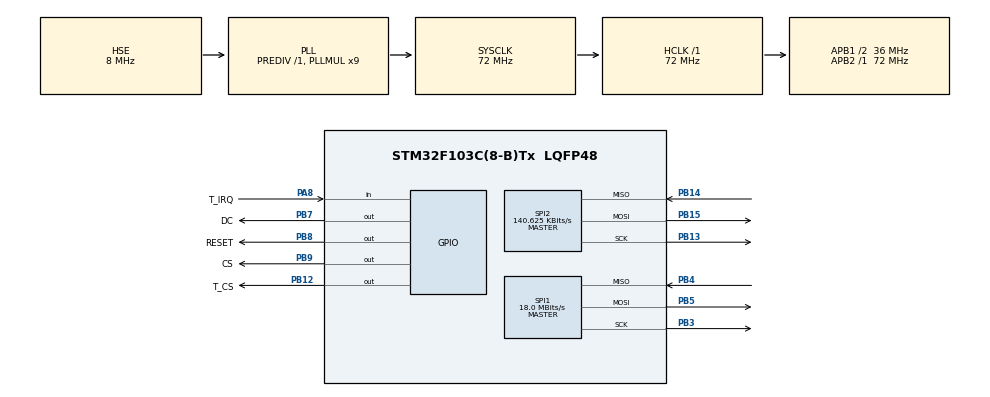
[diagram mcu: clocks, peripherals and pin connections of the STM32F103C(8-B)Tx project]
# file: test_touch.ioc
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Dma.Request0=SPI1_TX
Dma.SPI1_TX.0.Direction=DMA_MEMORY_TO_PERIPH
Dma.SPI1_TX.0.Instance=DMA1_Channel3
Dma.SPI1_TX.0.MemDataAlignment=DMA_MDATAALIGN_BYTE
Dma.SPI1_TX.0.MemInc=DMA_MINC_ENABLE
Dma.SPI1_TX.0.Mode=DMA_NORMAL
Dma.SPI1_TX.0.PeriphDataAlignment=DMA_PDATAALIGN_BYTE
Dma.SPI1_TX.0.PeriphInc=DMA_PINC_DISABLE
Dma.SPI1_TX.0.Priority=DMA_PRIORITY_VERY_HIGH
Mcu.Family=STM32F1
Mcu.Name=STM32F103C(8-B)Tx
Mcu.Package=LQFP48
NVIC.DMA1_Channel3_IRQn=true\:0\:0\:false\:false\:true\:false\:true\:true
NVIC.PriorityGroup=NVIC_PRIORITYGROUP_4
NVIC.SPI1_IRQn=true\:0\:0\:false\:false\:true\:true\:true\:true
PA13.Mode=Serial_Wire
PA13.Signal=SYS_JTMS-SWDIO
PA14.Mode=Serial_Wire
PA14.Signal=SYS_JTCK-SWCLK
PA8.GPIO_Label=T_IRQ
PA8.Signal=GPIO_Input
PB12.GPIO_Label=T_CS
PB12.GPIO_Speed=GPIO_SPEED_FREQ_MEDIUM
PB12.PinState=GPIO_PIN_SET
PB12.Signal=GPIO_Output
PB13.Mode=Full_Duplex_Master
PB13.Signal=SPI2_SCK
PB14.Mode=Full_Duplex_Master
PB14.Signal=SPI2_MISO
PB15.Mode=Full_Duplex_Master
PB15.Signal=SPI2_MOSI
PB3.Mode=Full_Duplex_Master
PB3.Signal=SPI1_SCK
PB4.Mode=Full_Duplex_Master
PB4.Signal=SPI1_MISO
PB5.Mode=Full_Duplex_Master
PB5.Signal=SPI1_MOSI
PB7.GPIO_Label=DC
PB7.GPIO_Speed=GPIO_SPEED_FREQ_MEDIUM
PB7.Signal=GPIO_Output
PB8.GPIO_Label=RESET
PB8.GPIO_Speed=GPIO_SPEED_FREQ_MEDIUM
PB8.Signal=GPIO_Output
PB9.GPIO_Label=CS
PB9.GPIO_Speed=GPIO_SPEED_FREQ_MEDIUM
PB9.Signal=GPIO_Output
PD0-OSC_IN.Mode=HSE-External-Oscillator
PD0-OSC_IN.Signal=RCC_OSC_IN
PD1-OSC_OUT.Mode=HSE-External-Oscillator
PD1-OSC_OUT.Signal=RCC_OSC_OUT
ProjectManager.HeapSize=0x200
ProjectManager.StackSize=0x400
ProjectManager.TargetToolchain=STM32CubeIDE
RCC.AHBFreq_Value=72000000
RCC.APB1CLKDivider=RCC_HCLK_DIV2
RCC.APB1Freq_Value=36000000
RCC.APB1TimFreq_Value=72000000
RCC.APB2Freq_Value=72000000
RCC.APB2TimFreq_Value=72000000
RCC.HCLKFreq_Value=72000000
RCC.PLLMUL=RCC_PLL_MUL9
RCC.PLLSourceVirtual=RCC_PLLSOURCE_HSE
RCC.SYSCLKFreq_VALUE=72000000
RCC.SYSCLKSource=RCC_SYSCLKSOURCE_PLLCLK
RCC.USBFreq_Value=72000000
SPI1.BaudRatePrescaler=SPI_BAUDRATEPRESCALER_4
SPI1.CalculateBaudRate=18.0 MBits/s
SPI1.Direction=SPI_DIRECTION_2LINES
SPI1.Mode=SPI_MODE_MASTER
SPI1.VirtualType=VM_MASTER
SPI2.BaudRatePrescaler=SPI_BAUDRATEPRESCALER_256
SPI2.CalculateBaudRate=140.625 KBits/s
SPI2.Direction=SPI_DIRECTION_2LINES
SPI2.Mode=SPI_MODE_MASTER
SPI2.VirtualType=VM_MASTER
board=custom

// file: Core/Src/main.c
/* USER CODE BEGIN Header */
/**
  ******************************************************************************
  * @file           : main.c
  * @brief          : Main program body
  ******************************************************************************
  * @attention
  *
  * Copyright (c) 2024 STMicroelectronics.
  * All rights reserved.
  *
  * This software is licensed under terms that can be found in the LICENSE file
  * in the root directory of this software component.
  * If no LICENSE file comes with this software, it is provided AS-IS.
  *
  ******************************************************************************
  */
/* USER CODE END Header */
#include "main.h"

/* USER CODE BEGIN Includes */
#include <stdio.h>
#include "graphics.h"
#include "touch.h"
#include "icon_wifi.h"
/* USER CODE END Includes */

SPI_HandleTypeDef hspi1;
SPI_HandleTypeDef hspi2;
DMA_HandleTypeDef hdma_spi1_tx;

void SystemClock_Config(void);
static void MX_GPIO_Init(void);
static void MX_DMA_Init(void);
static void MX_SPI1_Init(void);
static void MX_SPI2_Init(void);

int main(void)
{
  /* USER CODE BEGIN 1 */
	  uint16_t x;
	  uint16_t y;
  /* USER CODE END 1 */

  /* MCU Configuration--------------------------------------------------------*/

  /* Reset of all peripherals, Initializes the Flash interface and the Systick. */
  HAL_Init();

  /* Configure the system clock */
  SystemClock_Config();

  /* Initialize all configured peripherals */
  MX_GPIO_Init();
  MX_DMA_Init();
  MX_SPI1_Init();
  MX_SPI2_Init();
  /* USER CODE BEGIN 2 */
  GraphicsInit();
  TouchCalibrate();
  GraphicsClear(WHITE);
    //GraphicsColourBitmap(50, 20, 65, 59, icon_wifi );

  /* USER CODE END 2 */

  /* Infinite loop */
  /* USER CODE BEGIN WHILE */
  while (1)
  {
//	  		if (TouchIsTouched())
//	  		{
//	  		  GraphicsLargeString(50, 200, "Down", YELLOW);
//	  		}
//	  		else
//	  		{
//	  		  GraphicsLargeString(50, 200, "Up", YELLOW);
//	  		}

	  		if (TouchGetCalibratedPoint(&x, &y))
	  		{
	  			if(x >=50 && x<=115 && y>=20 && y<=79)
	  			{
	  				GraphicsClear(WHITE);
	  				//GraphicsLargeString(60, 45, "ENTER PASSWORD", BLACK);
	  				GraphicsFilledRectangle(45, 70, 150, 30, BLACK);
	  				GraphicsColourBitmap(45,110 , 150, 46, key_hang_mot );
	  				GraphicsColourBitmap(45,156 , 150, 48, key_hang_hai );
	  				GraphicsColourBitmap(45,204 , 150, 48, key_hang_ba );
	  			}
	  		}
	  		if (TouchGetCalibratedPoint(&x, &y))
	  		{
	  			if(x >=55 && x<=95 && y>=90 && y<=160)
	  			{
	  				GraphicsLargeCharacter(55, 80, '1', YELLOW);
	  			}
	  			else if(x >=100 && x<=140 && y>=90 && y<=160)
	  				 {
	  				  GraphicsLargeCharacter(70, 80, '2', YELLOW);
	  				 }
	  			else if(x >=145 && x<=185 && y>=90 && y<=160)
	  				 {
	  				  GraphicsLargeCharacter(85, 80, '3', YELLOW);
	  				 }
	  			else if(x >=55 && x<=95 && y>=160 && y<=200)
	  				{
	  				 GraphicsLargeCharacter(100, 80, '4', YELLOW);
	  				}
	  			else if(x >=100 && x<=140 && y>=160 && y<=200)
	  				{
	  				 GraphicsLargeCharacter(115, 80, '5', YELLOW);
	  				}
	  			else if(x >=145 && x<=185 && y>=160 && y<=200)
	  				 {
	  				 GraphicsLargeCharacter(130, 80, '6', YELLOW);
	  				 }
	  			else if(x >=55 && x<=95 && y>=200 && y<=250)
	  				 {
	  				 GraphicsLargeCharacter(145, 80, '7', YELLOW);
	  				 }
	  			else if(x >=100 && x<=140 && y>=200 && y<=250)
	  				 {
	  				 GraphicsLargeCharacter(160, 80, '8', YELLOW);
	  				 }
	  			else if(x >=145 && x<=185 && y>=200 && y<=250)
	  				 {
	  				 GraphicsLargeCharacter(175, 80, '9', YELLOW);
	  				 }
	  		}

//	  			char buf[20];
//	  			sprintf(buf, "%hd %hd", x, y);
//	  			GraphicsFilledRectangle(0, 0, 120, 15, BLACK);
//	  			GraphicsLargeString(0, 0, buf, YELLOW);
//	  			GraphicsFilledCircle(x, y, 2, YELLOW);

    /* USER CODE END WHILE */

  }
}

void SystemClock_Config(void)
{
  RCC_OscInitTypeDef RCC_OscInitStruct = {0};
  RCC_ClkInitTypeDef RCC_ClkInitStruct = {0};

  /** Initializes the RCC Oscillators according to the specified parameters
  * in the RCC_OscInitTypeDef structure.
  */
  RCC_OscInitStruct.OscillatorType = RCC_OSCILLATORTYPE_HSE;
  RCC_OscInitStruct.HSEState = RCC_HSE_ON;
  RCC_OscInitStruct.HSEPredivValue = RCC_HSE_PREDIV_DIV1;
  RCC_OscInitStruct.HSIState = RCC_HSI_ON;
  RCC_OscInitStruct.PLL.PLLState = RCC_PLL_ON;
  RCC_OscInitStruct.PLL.PLLSource = RCC_PLLSOURCE_HSE;
  RCC_OscInitStruct.PLL.PLLMUL = RCC_PLL_MUL9;
  if (HAL_RCC_OscConfig(&RCC_OscInitStruct) != HAL_OK)
  {
    Error_Handler();
  }

  /** Initializes the CPU, AHB and APB buses clocks
  */
  RCC_ClkInitStruct.ClockType = RCC_CLOCKTYPE_HCLK|RCC_CLOCKTYPE_SYSCLK
                              |RCC_CLOCKTYPE_PCLK1|RCC_CLOCKTYPE_PCLK2;
  RCC_ClkInitStruct.SYSCLKSource = RCC_SYSCLKSOURCE_PLLCLK;
  RCC_ClkInitStruct.AHBCLKDivider = RCC_SYSCLK_DIV1;
  RCC_ClkInitStruct.APB1CLKDivider = RCC_HCLK_DIV2;
  RCC_ClkInitStruct.APB2CLKDivider = RCC_HCLK_DIV1;

  if (HAL_RCC_ClockConfig(&RCC_ClkInitStruct, FLASH_LATENCY_2) != HAL_OK)
  {
    Error_Handler();
  }
}

static void MX_SPI1_Init(void)
{

  /* SPI1 parameter configuration*/
  hspi1.Instance = SPI1;
  hspi1.Init.Mode = SPI_MODE_MASTER;
  hspi1.Init.Direction = SPI_DIRECTION_2LINES;
  hspi1.Init.DataSize = SPI_DATASIZE_8BIT;
  hspi1.Init.CLKPolarity = SPI_POLARITY_LOW;
  hspi1.Init.CLKPhase = SPI_PHASE_1EDGE;
  hspi1.Init.NSS = SPI_NSS_SOFT;
  hspi1.Init.BaudRatePrescaler = SPI_BAUDRATEPRESCALER_4;
  hspi1.Init.FirstBit = SPI_FIRSTBIT_MSB;
  hspi1.Init.TIMode = SPI_TIMODE_DISABLE;
  hspi1.Init.CRCCalculation = SPI_CRCCALCULATION_DISABLE;
  hspi1.Init.CRCPolynomial = 10;
  if (HAL_SPI_Init(&hspi1) != HAL_OK)
  {
    Error_Handler();
  }

}

static void MX_SPI2_Init(void)
{

  /* SPI2 parameter configuration*/
  hspi2.Instance = SPI2;
  hspi2.Init.Mode = SPI_MODE_MASTER;
  hspi2.Init.Direction = SPI_DIRECTION_2LINES;
  hspi2.Init.DataSize = SPI_DATASIZE_8BIT;
  hspi2.Init.CLKPolarity = SPI_POLARITY_LOW;
  hspi2.Init.CLKPhase = SPI_PHASE_1EDGE;
  hspi2.Init.NSS = SPI_NSS_SOFT;
  hspi2.Init.BaudRatePrescaler = SPI_BAUDRATEPRESCALER_256;
  hspi2.Init.FirstBit = SPI_FIRSTBIT_MSB;
  hspi2.Init.TIMode = SPI_TIMODE_DISABLE;
  hspi2.Init.CRCCalculation = SPI_CRCCALCULATION_DISABLE;
  hspi2.Init.CRCPolynomial = 10;
  if (HAL_SPI_Init(&hspi2) != HAL_OK)
  {
    Error_Handler();
  }

}

static void MX_DMA_Init(void)
{

  /* DMA controller clock enable */
  __HAL_RCC_DMA1_CLK_ENABLE();

  /* DMA interrupt init */
  /* DMA1_Channel3_IRQn interrupt configuration */
  HAL_NVIC_SetPriority(DMA1_Channel3_IRQn, 0, 0);
  HAL_NVIC_EnableIRQ(DMA1_Channel3_IRQn);

}

static void MX_GPIO_Init(void)
{
  GPIO_InitTypeDef GPIO_InitStruct = {0};

  /* GPIO Ports Clock Enable */
  __HAL_RCC_GPIOD_CLK_ENABLE();
  __HAL_RCC_GPIOB_CLK_ENABLE();
  __HAL_RCC_GPIOA_CLK_ENABLE();

  /*Configure GPIO pin Output Level */
  HAL_GPIO_WritePin(T_CS_GPIO_Port, T_CS_Pin, GPIO_PIN_SET);

  /*Configure GPIO pin Output Level */
  HAL_GPIO_WritePin(GPIOB, DC_Pin|RESET_Pin|CS_Pin, GPIO_PIN_RESET);

  /*Configure GPIO pins : T_CS_Pin DC_Pin RESET_Pin CS_Pin */
  GPIO_InitStruct.Pin = T_CS_Pin|DC_Pin|RESET_Pin|CS_Pin;
  GPIO_InitStruct.Mode = GPIO_MODE_OUTPUT_PP;
  GPIO_InitStruct.Pull = GPIO_NOPULL;
  GPIO_InitStruct.Speed = GPIO_SPEED_FREQ_MEDIUM;
  HAL_GPIO_Init(GPIOB, &GPIO_InitStruct);

  /*Configure GPIO pin : T_IRQ_Pin */
  GPIO_InitStruct.Pin = T_IRQ_Pin;
  GPIO_InitStruct.Mode = GPIO_MODE_INPUT;
  GPIO_InitStruct.Pull = GPIO_NOPULL;
  HAL_GPIO_Init(T_IRQ_GPIO_Port, &GPIO_InitStruct);

}

void Error_Handler(void)
{
  __disable_irq();
  while (1)
  {
  }
}
